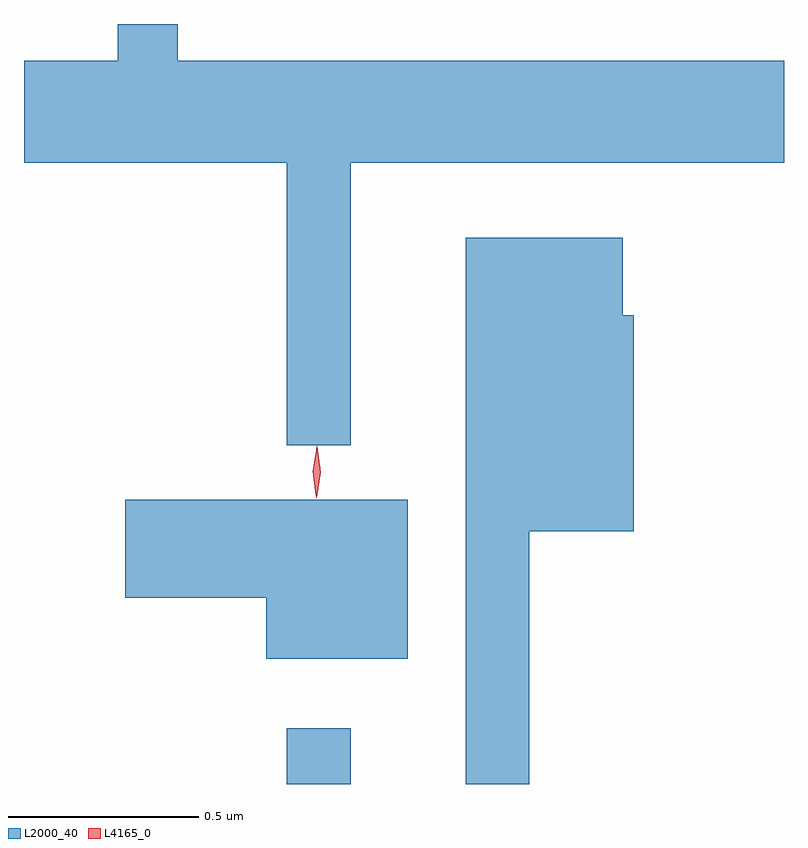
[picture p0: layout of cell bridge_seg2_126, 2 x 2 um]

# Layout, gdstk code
import gdstk
lib = gdstk.Library(unit=1e-6, precision=1e-09)
def R(c, l, rs):  # rectangles x0, y0, x1, y1
    for r in rs: c.add(gdstk.rectangle(r[:2], r[2:], *l))
def P(c, l, *ps):  # polygons
    for p in ps: c.add(gdstk.Polygon(p, *l))
L2000_40 = (2000, 40)
L4165_0 = (4165, 0)

bridge_seg2_126 = lib.new_cell('bridge_seg2_126')
R(bridge_seg2_126, L2000_40, [(984.581,1046.681,984.749,1046.828)])
P(bridge_seg2_126, L2000_40, [(984.749,1048.316),(985.889,1048.316),(985.889,1048.584),(984.294,1048.584),(984.294,1048.681),(984.136,1048.681),(984.136,1048.584),(983.889,1048.584),(983.889,1048.316),(984.581,1048.316),(984.581,1047.573),(984.749,1047.573)],
  [(985.219,1047.346),(985.494,1047.346),(985.494,1047.914),(985.464,1047.914),(985.464,1048.119),(985.051,1048.119),(985.051,1046.681),(985.219,1046.681)],
  [(984.899,1047.429),(984.156,1047.429),(984.156,1047.171),(984.526,1047.171),(984.526,1047.011),(984.899,1047.011)])
P(bridge_seg2_126, L4165_0, [(984.658,1047.44),(984.657,1047.441),(984.649,1047.504),(984.66,1047.566),(984.66,1047.567),(984.661,1047.566),(984.669,1047.503),(984.658,1047.441)],
  [(984.658,1047.434),(984.65,1047.502),(984.66,1047.57),(984.66,1047.57),(984.661,1047.57),(984.67,1047.502),(984.659,1047.434),(984.659,1047.434)])

lib.write_gds('bridge_seg2_126.gds')
